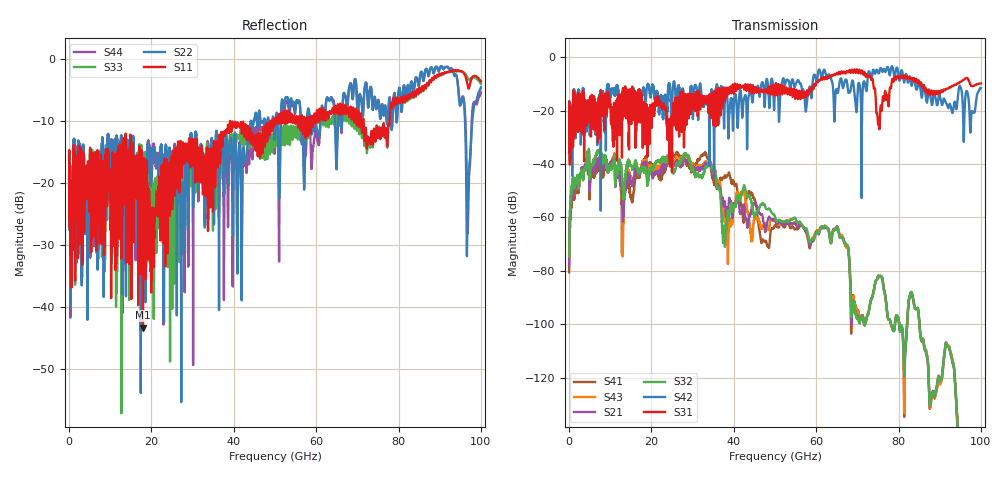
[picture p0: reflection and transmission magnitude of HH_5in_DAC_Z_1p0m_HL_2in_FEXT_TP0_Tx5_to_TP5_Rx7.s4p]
# GHz S RI R 45
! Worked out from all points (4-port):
!   4000 points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, 25 MHz to 100 GHz, reference 45 ohm
!   strongest paths, dB at 25 MHz, 25.02 GHz, 50.02 GHz, 75.03 GHz, 100 GHz:
!     S31: -19.0, -36.4, -13.2, -25.0, -9.8
!     S42: -18.8, -19.7, -11.3, -5.7, -11.5
!     S32: -74.7, -41.4, -59.9, -82.1, -182.7
!     S21: -77.9, -38.8, -61.4, -82.1, -181.6
!     S43: -77.8, -38.2, -60.8, -82.2, -186.2
!     S41: -80.6, -36.4, -62.9, -82.2, -184.7
!   lowest |S11| = -43.3 dB at 17.95 GHz (marker M1), VSWR 1.01, Z = 44.4 + j0.227 ohm
!   |S11| at or under -10 dB: start of sweep to 39.13 GHz; 39.15 GHz to 48.99 GHz (9.839 GHz wide, 22.3 % of centre); 71.51 GHz to 77.87 GHz (6.364 GHz wide, 8.52 % of centre)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
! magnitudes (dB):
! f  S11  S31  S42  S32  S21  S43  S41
! 25 MHz  -16.2  -19.0  -18.8  -74.7  -77.9  -77.8  -80.6
! 4.375 GHz  -19.7  -18.2  -23.1  -38.9  -38.9  -38.9  -39.7
! 13.2 GHz  -12.8  -12.5  -12.6  -51.9  -59.6  -62.1  -52.4
! 17.95 GHz  -43.3  -26.3  -11.8  -41.1  -39.8  -38.9  -39.1
! 91.62 GHz  -2.2  -11.8  -17.3  -107.0  -106.9  -107.3  -107.2
! 96.88 GHz  -4.5  -8.1  -14.1  -150.9  -149.5  -149.9  -148.8
! 100 GHz  -3.6  -9.8  -11.5  -182.7  -181.6  -186.2  -184.7
